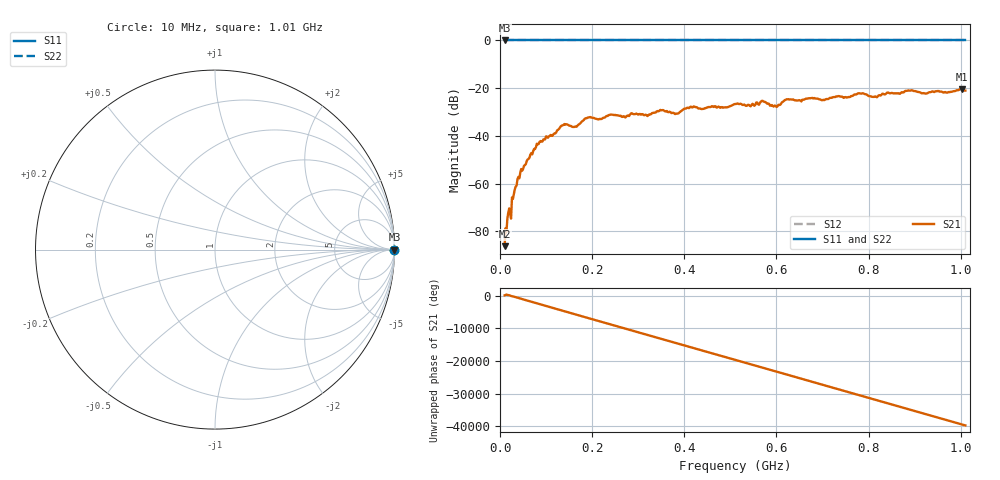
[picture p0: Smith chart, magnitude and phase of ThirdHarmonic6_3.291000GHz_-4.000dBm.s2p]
! 8/17/2025 10:14:00 AM
! C:\ANRITSUVNA\TEMP\TEMP.S2P
! CHANNEL.1
! TR.MEASUREMENT
! RAW.DATA
! RF.CORRECTION.OFF
! AVERAGING.OFF
! IF.BANDWIDTH: 5KHZ
! SWEEPTYPE:  FREQ.SWEEP(Linear)
! Reference Plane Port Info
! PORT:  PORT1  PORT2
! DISTANCE:  0  m  0  m
! TIME:  0  s  0  s
! PHASE.OFFSET:  0  deg.  0  deg.
! LOSS:  0  dB  0  dB
! REF.LOSS:  0  dB  0  dB
! REF.FREQ:  0  Hz  0  Hz
! Power Info
! POWER:  -20  dBm  -20  dBm
! EFF.POWER:  -20  dBm  -20  dBm
! SOURCE.ATTEN:  0  dB  0  dB
! TEST.ATTEN:  0  dB  0  dB
# GHZ S RI R 50.0
! FREQ.GHZ  S11RE  S11IM  S21RE  S21IM  S12RE  S12IM  S22RE  S22IM
!; PortSelection: Port_12
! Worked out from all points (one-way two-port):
!   501 points, 10 MHz to 1.01 GHz, reference 50 ohm
!   highest |S21| = -20.38 dB at 1.002 GHz (marker M1); lowest = -86.2 dB at 10 MHz (marker M2)
!   lowest |S11| = 0.0 dB at 10 MHz (marker M3)
!   |S11| at or under -10 dB: nowhere
!   |S22| runs from 0.0 to 0.0 dB; largest |S21 - S12| = 1.1
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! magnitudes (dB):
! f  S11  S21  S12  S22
! 10 MHz  0.0  -86.2  0.0  0.0
! 42 MHz  0.0  -57.7  0.0  0.0
! 78 MHz  0.0  -44.7  0.0  0.0
! 136 MHz  0.0  -35.6  0.0  0.0
! 162 MHz  0.0  -36.2  0.0  0.0
! 178 MHz  0.0  -33.9  0.0  0.0
! 194 MHz  0.0  -32.2  0.0  0.0
! 318 MHz  0.0  -31.3  0.0  0.0
! 344 MHz  0.0  -29.7  0.0  0.0
! 384 MHz  0.0  -30.6  0.0  0.0
! 418 MHz  0.0  -28.0  0.0  0.0
! 510 MHz  0.0  -26.6  0.0  0.0
! 570 MHz  0.0  -25.3  0.0  0.0
! 598 MHz  0.0  -27.4  0.0  0.0
! 622 MHz  0.0  -24.7  0.0  0.0
! 678 MHz  0.0  -24.1  0.0  0.0
! 702 MHz  0.0  -24.9  0.0  0.0
! 782 MHz  0.0  -22.2  0.0  0.0
! 814 MHz  0.0  -23.4  0.0  0.0
! 844 MHz  0.0  -22.0  0.0  0.0
! 1.002 GHz  0.0  -20.4  0.0  0.0
! 1.01 GHz  0.0  -21.0  0.0  0.0
